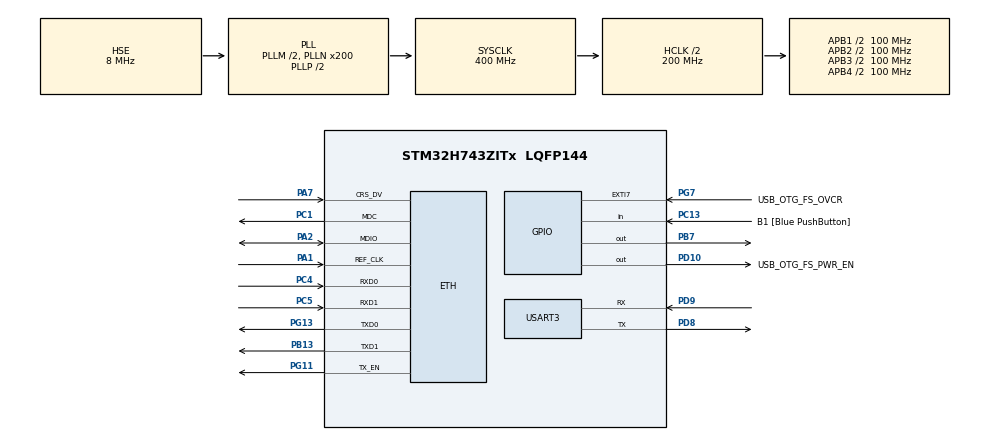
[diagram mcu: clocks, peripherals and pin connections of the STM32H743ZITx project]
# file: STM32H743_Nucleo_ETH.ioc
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CORTEX_M7.AccessPermission_S-Cortex_Memory_Protection_Unit_Region1_Settings_S=MPU_REGION_FULL_ACCESS
CORTEX_M7.AccessPermission_S-Cortex_Memory_Protection_Unit_Region2_Settings_S=MPU_REGION_FULL_ACCESS
CORTEX_M7.BaseAddress_S-Cortex_Memory_Protection_Unit_Region1_Settings_S=0x30020000
CORTEX_M7.BaseAddress_S-Cortex_Memory_Protection_Unit_Region2_Settings_S=0x30040000
CORTEX_M7.CPU_DCache=Enabled
CORTEX_M7.CPU_ICache=Enabled
CORTEX_M7.DisableExec_S-Cortex_Memory_Protection_Unit_Region1_Settings_S=MPU_INSTRUCTION_ACCESS_DISABLE
CORTEX_M7.DisableExec_S-Cortex_Memory_Protection_Unit_Region2_Settings_S=MPU_INSTRUCTION_ACCESS_DISABLE
CORTEX_M7.Enable_S-Cortex_Memory_Protection_Unit_Region1_Settings_S=MPU_REGION_ENABLE
CORTEX_M7.Enable_S-Cortex_Memory_Protection_Unit_Region2_Settings_S=MPU_REGION_ENABLE
CORTEX_M7.IsBufferable_S-Cortex_Memory_Protection_Unit_Region2_Settings_S=MPU_ACCESS_BUFFERABLE
CORTEX_M7.IsShareable_S-Cortex_Memory_Protection_Unit_Region2_Settings_S=MPU_ACCESS_SHAREABLE
CORTEX_M7.Size_S-Cortex_Memory_Protection_Unit_Region1_Settings_S=MPU_REGION_SIZE_128KB
CORTEX_M7.Size_S-Cortex_Memory_Protection_Unit_Region2_Settings_S=MPU_REGION_SIZE_512B
CORTEX_M7.TypeExtField_S-Cortex_Memory_Protection_Unit_Region1_Settings_S=MPU_TEX_LEVEL1
CORTEX_M7.default_mode_Activation=1
ETH.MediaInterface=HAL_ETH_RMII_MODE
ETH.RxBuffLen=1536
ETH.RxDescAddress=0x30040000
ETH.TxDescAddress=0x30040200
FREERTOS.Tasks01=defaultTask,24,512,StartDefaultTask,Default,NULL,Dynamic,NULL,NULL;mqttSubTask,24,2048,StartMqttSubTask,Default,NULL,Dynamic,NULL,NULL;mqttPubTask,24,2048,StartMqttPubTaskx,Default,NULL,Dynamic,NULL,NULL
FREERTOS.configCHECK_FOR_STACK_OVERFLOW=2
FREERTOS.configMINIMAL_STACK_SIZE=512
FREERTOS.configTOTAL_HEAP_SIZE=65536
FREERTOS.configUSE_NEWLIB_REENTRANT=1
LWIP.BSP.number=1
LWIP.DEFAULT_THREAD_STACKSIZE=2048
LWIP.IP_ADDRESS=192.168.001.050
LWIP.LWIP_DHCP=1
LWIP.LWIP_RAM_HEAP_POINTER=0x30020000
LWIP.MEM_SIZE=131048
LWIP.NETMASK_ADDRESS=255.255.255.000
LWIP.PBUF_POOL_BUFSIZE=592
LWIP.TCPIP_THREAD_STACKSIZE=2048
LWIP.TCP_MSS=1460
LWIP.TCP_SND_BUF=5840
LWIP.TCP_SND_QUEUELEN=16
LWIP.Version=v2.1.2_Cube
LWIP0.BSP.STBoard=false
LWIP0.BSP.api=BSP_COMPONENT_DRIVER
LWIP0.BSP.component=LAN8742
LWIP0.BSP.instance=LAN8742
LWIP0.BSP.name=Driver_PHY
LWIP0.BSP.semaphore=S_LAN8742
LWIP0.BSP.solution=LAN8742
MBEDTLS.MBEDTLS_DEBUG_C=1
MBEDTLS.MBEDTLS_ENTROPY_HARDWARE_ALT=1
MBEDTLS.MBEDTLS_NO_DEFAULT_ENTROPY_SOURCES=0
MBEDTLS.MBEDTLS_NO_PLATFORM_ENTROPY=1
Mcu.Family=STM32H7
Mcu.Name=STM32H743ZITx
Mcu.Package=LQFP144
NUCLEO-H743ZI2.LD1=true
NUCLEO-H743ZI2.LD2=true
NUCLEO-H743ZI2.LD3=true
NVIC.ETH_IRQn=true\:5\:0\:false\:false\:true\:true\:true\:true\:true
NVIC.HASH_RNG_IRQn=true\:5\:0\:false\:false\:true\:true\:true\:true\:true
NVIC.PriorityGroup=NVIC_PRIORITYGROUP_4
NVIC.TIM6_DAC_IRQn=true\:15\:0\:false\:false\:true\:false\:false\:true\:true
NVIC.TimeBase=TIM6_DAC_IRQn
NVIC.TimeBaseIP=TIM6
PA1.GPIO_Speed=GPIO_SPEED_FREQ_VERY_HIGH
PA1.Mode=RMII
PA1.Signal=ETH_REF_CLK
PA11.Signal=USB_OTG_FS_DM
PA12.Signal=USB_OTG_FS_DP
PA2.GPIO_Speed=GPIO_SPEED_FREQ_VERY_HIGH
PA2.Mode=RMII
PA2.Signal=ETH_MDIO
PA7.GPIO_Speed=GPIO_SPEED_FREQ_VERY_HIGH
PA7.Mode=RMII
PA7.Signal=ETH_CRS_DV
PA8.Signal=USB_OTG_FS_SOF
PA9.Signal=USB_OTG_FS_VBUS
PB13.GPIO_Speed=GPIO_SPEED_FREQ_VERY_HIGH
PB13.Mode=RMII
PB13.Signal=ETH_TXD1
PB7.Signal=GPIO_Output
PC1.GPIO_Speed=GPIO_SPEED_FREQ_VERY_HIGH
PC1.Mode=RMII
PC1.Signal=ETH_MDC
PC13.GPIO_Label=B1 [Blue PushButton]
PC13.Signal=GPIO_Input
PC14-OSC32_IN\ (OSC32_IN).Signal=RCC_OSC32_IN
PC15-OSC32_OUT\ (OSC32_OUT).Signal=RCC_OSC32_OUT
PC4.GPIO_Speed=GPIO_SPEED_FREQ_VERY_HIGH
PC4.Mode=RMII
PC4.Signal=ETH_RXD0
PC5.GPIO_Speed=GPIO_SPEED_FREQ_VERY_HIGH
PC5.Mode=RMII
PC5.Signal=ETH_RXD1
PD10.GPIO_Label=USB_OTG_FS_PWR_EN
PD10.Signal=GPIO_Output
PD8.Mode=Asynchronous
PD8.Signal=USART3_TX
PD9.Mode=Asynchronous
PD9.Signal=USART3_RX
PG11.GPIO_Speed=GPIO_SPEED_FREQ_VERY_HIGH
PG11.Mode=RMII
PG11.Signal=ETH_TX_EN
PG13.GPIO_Speed=GPIO_SPEED_FREQ_VERY_HIGH
PG13.Mode=RMII
PG13.Signal=ETH_TXD0
PG7.GPIO_Label=USB_OTG_FS_OVCR
PG7.Signal=GPXTI7
PH0-OSC_IN\ (PH0).Mode=HSE-External-Clock-Source
PH0-OSC_IN\ (PH0).Signal=RCC_OSC_IN
PH1-OSC_OUT\ (PH1).Signal=RCC_OSC_OUT
ProjectManager.HeapSize=0x200
ProjectManager.StackSize=0x400
ProjectManager.TargetToolchain=STM32CubeIDE
RCC.ADCFreq_Value=16125000
RCC.APB1Freq_Value=100000000
RCC.APB2Freq_Value=100000000
RCC.APB3Freq_Value=100000000
RCC.APB4Freq_Value=100000000
RCC.CortexFreq_Value=400000000
RCC.D1PPRE=RCC_APB3_DIV2
RCC.D2PPRE1=RCC_APB1_DIV2
RCC.D2PPRE2=RCC_APB2_DIV2
RCC.D3PPRE=RCC_APB4_DIV2
RCC.DIVM1=2
RCC.DIVN1=200
RCC.HCLKFreq_Value=200000000
RCC.HPRE=RCC_HCLK_DIV2
RCC.HSE_VALUE=8000000
RCC.PLLSourceVirtual=RCC_PLLSOURCE_HSE
RCC.SYSCLKFreq_VALUE=400000000
RCC.SYSCLKSource=RCC_SYSCLKSOURCE_PLLCLK
RCC.USBFreq_Value=400000000
USART3.VirtualMode-Asynchronous=VM_ASYNC
VP_FREERTOS_VS_CMSIS_V2.Mode=CMSIS_V2
VP_LWIP_VS_Enabled.Mode=Enabled
VP_MBEDTLS_VS_MBEDTLS.Mode=Enabled
VP_MEMORYMAP_VS_MEMORYMAP.Mode=CurAppReg
VP_RNG_VS_RNG.Mode=RNG_Activate
VP_SYS_VS_tim6.Mode=TIM6
board=NUCLEO-H743ZI2

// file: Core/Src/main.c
/* USER CODE BEGIN Header */
/**
  ******************************************************************************
  * @file           : main.c
  * @brief          : Main program body
  ******************************************************************************
  * @attention
  *
  * Copyright (c) 2022 STMicroelectronics.
  * All rights reserved.
  *
  * This software is licensed under terms that can be found in the LICENSE file
  * in the root directory of this software component.
  * If no LICENSE file comes with this software, it is provided AS-IS.
  *
  ******************************************************************************
  */
/* USER CODE END Header */
#include "main.h"
#include "cmsis_os.h"
#include "mbedtls.h"

/* USER CODE BEGIN Includes */
#include "app.h"
/* USER CODE END Includes */

RNG_HandleTypeDef hrng;

UART_HandleTypeDef huart3;

/* Definitions for defaultTask */
osThreadId_t defaultTaskHandle;
const osThreadAttr_t defaultTask_attributes = {
  .name = "defaultTask",
  .stack_size = 512 * 4,
  .priority = (osPriority_t) osPriorityNormal,
};
/* Definitions for mqttSubTask */
osThreadId_t mqttSubTaskHandle;
const osThreadAttr_t mqttSubTask_attributes = {
  .name = "mqttSubTask",
  .stack_size = 2048 * 4,
  .priority = (osPriority_t) osPriorityNormal,
};
/* Definitions for mqttPubTask */
osThreadId_t mqttPubTaskHandle;
const osThreadAttr_t mqttPubTask_attributes = {
  .name = "mqttPubTask",
  .stack_size = 2048 * 4,
  .priority = (osPriority_t) osPriorityNormal,
};
/* USER CODE BEGIN PV */
/* Retargets the C library printf function to the USART. */
#include <stdio.h>
#ifdef __GNUC__
int __io_putchar(int ch)
#else
int fputc(int ch, FILE *f)
#endif
{
    HAL_UART_Transmit(&huart3, (uint8_t *)&ch, 1, 0xFFFF);

    return ch;
}
#ifdef __GNUC__
int _write(int file,char *ptr, int len)
{
    int DataIdx;
    for (DataIdx= 0; DataIdx< len; DataIdx++) {
        __io_putchar(*ptr++);
    }
    return len;
}
#endif
/* USER CODE END PV */

void SystemClock_Config(void);
static void MPU_Config(void);
static void MX_GPIO_Init(void);
static void MX_USART3_UART_Init(void);
static void MX_RNG_Init(void);
void StartDefaultTask(void *argument);
void StartMqttSubTask(void *argument);
void StartMqttPubTaskx(void *argument);

int main(void)
{

  /* MPU Configuration--------------------------------------------------------*/
  MPU_Config();

  /* Enable the CPU Cache */

  /* Enable I-Cache---------------------------------------------------------*/
  SCB_EnableICache();

  /* Enable D-Cache---------------------------------------------------------*/
  SCB_EnableDCache();

  /* MCU Configuration--------------------------------------------------------*/

  /* Reset of all peripherals, Initializes the Flash interface and the Systick. */
  HAL_Init();

  /* USER CODE BEGIN Init */
  /* Turn off buffers, so I/O occurs immediately */
  setvbuf(stdin, NULL, _IONBF, 0);
  setvbuf(stdout, NULL, _IONBF, 0);
  setvbuf(stderr, NULL, _IONBF, 0);
  /* USER CODE END Init */

  /* Configure the system clock */
  SystemClock_Config();

  /* Initialize all configured peripherals */
  MX_GPIO_Init();
  MX_USART3_UART_Init();
  MX_RNG_Init();
  /* Call PreOsInit function */
  MX_MBEDTLS_Init();
  /* USER CODE BEGIN 2 */
  printf("Hello World- added   MX_LWIP_Init\n");
  /* USER CODE END 2 */

  /* Init scheduler */
  osKernelInitialize();

  /* Create the thread(s) */
  /* creation of defaultTask */
  defaultTaskHandle = osThreadNew(StartDefaultTask, NULL, &defaultTask_attributes);

  /* creation of mqttSubTask */
  mqttSubTaskHandle = osThreadNew(StartMqttSubTask, NULL, &mqttSubTask_attributes);

  /* creation of mqttPubTask */
  mqttPubTaskHandle = osThreadNew(StartMqttPubTaskx, NULL, &mqttPubTask_attributes);

  /* Start scheduler */
  osKernelStart();

  /* We should never get here as control is now taken by the scheduler */

  /* Infinite loop */
  while (1)
  {

  }
}

void SystemClock_Config(void)
{
  RCC_OscInitTypeDef RCC_OscInitStruct = {0};
  RCC_ClkInitTypeDef RCC_ClkInitStruct = {0};

  /** Supply configuration update enable
  */
  HAL_PWREx_ConfigSupply(PWR_LDO_SUPPLY);

  /** Configure the main internal regulator output voltage
  */
  __HAL_PWR_VOLTAGESCALING_CONFIG(PWR_REGULATOR_VOLTAGE_SCALE1);

  while(!__HAL_PWR_GET_FLAG(PWR_FLAG_VOSRDY)) {}

  /** Initializes the RCC Oscillators according to the specified parameters
  * in the RCC_OscInitTypeDef structure.
  */
  RCC_OscInitStruct.OscillatorType = RCC_OSCILLATORTYPE_HSI48|RCC_OSCILLATORTYPE_HSE;
  RCC_OscInitStruct.HSEState = RCC_HSE_BYPASS;
  RCC_OscInitStruct.HSI48State = RCC_HSI48_ON;
  RCC_OscInitStruct.PLL.PLLState = RCC_PLL_ON;
  RCC_OscInitStruct.PLL.PLLSource = RCC_PLLSOURCE_HSE;
  RCC_OscInitStruct.PLL.PLLM = 2;
  RCC_OscInitStruct.PLL.PLLN = 200;
  RCC_OscInitStruct.PLL.PLLP = 2;
  RCC_OscInitStruct.PLL.PLLQ = 2;
  RCC_OscInitStruct.PLL.PLLR = 2;
  RCC_OscInitStruct.PLL.PLLRGE = RCC_PLL1VCIRANGE_2;
  RCC_OscInitStruct.PLL.PLLVCOSEL = RCC_PLL1VCOWIDE;
  RCC_OscInitStruct.PLL.PLLFRACN = 0;
  if (HAL_RCC_OscConfig(&RCC_OscInitStruct) != HAL_OK)
  {
    Error_Handler();
  }

  /** Initializes the CPU, AHB and APB buses clocks
  */
  RCC_ClkInitStruct.ClockType = RCC_CLOCKTYPE_HCLK|RCC_CLOCKTYPE_SYSCLK
                              |RCC_CLOCKTYPE_PCLK1|RCC_CLOCKTYPE_PCLK2
                              |RCC_CLOCKTYPE_D3PCLK1|RCC_CLOCKTYPE_D1PCLK1;
  RCC_ClkInitStruct.SYSCLKSource = RCC_SYSCLKSOURCE_PLLCLK;
  RCC_ClkInitStruct.SYSCLKDivider = RCC_SYSCLK_DIV1;
  RCC_ClkInitStruct.AHBCLKDivider = RCC_HCLK_DIV2;
  RCC_ClkInitStruct.APB3CLKDivider = RCC_APB3_DIV2;
  RCC_ClkInitStruct.APB1CLKDivider = RCC_APB1_DIV2;
  RCC_ClkInitStruct.APB2CLKDivider = RCC_APB2_DIV2;
  RCC_ClkInitStruct.APB4CLKDivider = RCC_APB4_DIV2;

  if (HAL_RCC_ClockConfig(&RCC_ClkInitStruct, FLASH_LATENCY_2) != HAL_OK)
  {
    Error_Handler();
  }
}

static void MX_RNG_Init(void)
{

  hrng.Instance = RNG;
  hrng.Init.ClockErrorDetection = RNG_CED_ENABLE;
  if (HAL_RNG_Init(&hrng) != HAL_OK)
  {
    Error_Handler();
  }

}

static void MX_USART3_UART_Init(void)
{

  huart3.Instance = USART3;
  huart3.Init.BaudRate = 115200;
  huart3.Init.WordLength = UART_WORDLENGTH_8B;
  huart3.Init.StopBits = UART_STOPBITS_1;
  huart3.Init.Parity = UART_PARITY_NONE;
  huart3.Init.Mode = UART_MODE_TX_RX;
  huart3.Init.HwFlowCtl = UART_HWCONTROL_NONE;
  huart3.Init.OverSampling = UART_OVERSAMPLING_16;
  huart3.Init.OneBitSampling = UART_ONE_BIT_SAMPLE_DISABLE;
  huart3.Init.ClockPrescaler = UART_PRESCALER_DIV1;
  huart3.AdvancedInit.AdvFeatureInit = UART_ADVFEATURE_NO_INIT;
  if (HAL_UART_Init(&huart3) != HAL_OK)
  {
    Error_Handler();
  }
  if (HAL_UARTEx_SetTxFifoThreshold(&huart3, UART_TXFIFO_THRESHOLD_1_8) != HAL_OK)
  {
    Error_Handler();
  }
  if (HAL_UARTEx_SetRxFifoThreshold(&huart3, UART_RXFIFO_THRESHOLD_1_8) != HAL_OK)
  {
    Error_Handler();
  }
  if (HAL_UARTEx_DisableFifoMode(&huart3) != HAL_OK)
  {
    Error_Handler();
  }

}

static void MX_GPIO_Init(void)
{
  GPIO_InitTypeDef GPIO_InitStruct = {0};

  /* GPIO Ports Clock Enable */
  __HAL_RCC_GPIOC_CLK_ENABLE();
  __HAL_RCC_GPIOH_CLK_ENABLE();
  __HAL_RCC_GPIOA_CLK_ENABLE();
  __HAL_RCC_GPIOB_CLK_ENABLE();
  __HAL_RCC_GPIOD_CLK_ENABLE();
  __HAL_RCC_GPIOG_CLK_ENABLE();

  /*Configure GPIO pin Output Level */
  HAL_GPIO_WritePin(USB_OTG_FS_PWR_EN_GPIO_Port, USB_OTG_FS_PWR_EN_Pin, GPIO_PIN_RESET);

  /*Configure GPIO pin Output Level */
  HAL_GPIO_WritePin(GPIOB, GPIO_PIN_7, GPIO_PIN_RESET);

  /*Configure GPIO pin : B1_Pin */
  GPIO_InitStruct.Pin = B1_Pin;
  GPIO_InitStruct.Mode = GPIO_MODE_INPUT;
  GPIO_InitStruct.Pull = GPIO_NOPULL;
  HAL_GPIO_Init(B1_GPIO_Port, &GPIO_InitStruct);

  /*Configure GPIO pin : USB_OTG_FS_PWR_EN_Pin */
  GPIO_InitStruct.Pin = USB_OTG_FS_PWR_EN_Pin;
  GPIO_InitStruct.Mode = GPIO_MODE_OUTPUT_PP;
  GPIO_InitStruct.Pull = GPIO_NOPULL;
  GPIO_InitStruct.Speed = GPIO_SPEED_FREQ_LOW;
  HAL_GPIO_Init(USB_OTG_FS_PWR_EN_GPIO_Port, &GPIO_InitStruct);

  /*Configure GPIO pin : USB_OTG_FS_OVCR_Pin */
  GPIO_InitStruct.Pin = USB_OTG_FS_OVCR_Pin;
  GPIO_InitStruct.Mode = GPIO_MODE_IT_RISING;
  GPIO_InitStruct.Pull = GPIO_NOPULL;
  HAL_GPIO_Init(USB_OTG_FS_OVCR_GPIO_Port, &GPIO_InitStruct);

  /*Configure GPIO pins : PA8 PA11 PA12 */
  GPIO_InitStruct.Pin = GPIO_PIN_8|GPIO_PIN_11|GPIO_PIN_12;
  GPIO_InitStruct.Mode = GPIO_MODE_AF_PP;
  GPIO_InitStruct.Pull = GPIO_NOPULL;
  GPIO_InitStruct.Speed = GPIO_SPEED_FREQ_LOW;
  GPIO_InitStruct.Alternate = GPIO_AF10_OTG1_FS;
  HAL_GPIO_Init(GPIOA, &GPIO_InitStruct);

  /*Configure GPIO pin : PB7 */
  GPIO_InitStruct.Pin = GPIO_PIN_7;
  GPIO_InitStruct.Mode = GPIO_MODE_OUTPUT_PP;
  GPIO_InitStruct.Pull = GPIO_NOPULL;
  GPIO_InitStruct.Speed = GPIO_SPEED_FREQ_LOW;
  HAL_GPIO_Init(GPIOB, &GPIO_InitStruct);

}

void StartDefaultTask(void *argument)
{
  /* USER CODE BEGIN 5 */

	mqtt_secure_connect();
  /* Initialize application */
//  app_init();
  /* Run application task */
  app_run(argument);

  /* USER CODE END 5 */
}

void StartMqttSubTask(void *argument)
{
  for(;;)
  {
    osDelay(1);
  }
}

void StartMqttPubTaskx(void *argument)
{
  for(;;)
  {
    osDelay(1);
  }
}

 /* MPU Configuration */

void MPU_Config(void)
{
  MPU_Region_InitTypeDef MPU_InitStruct = {0};

  /* Disables the MPU */
  HAL_MPU_Disable();

  /** Initializes and configures the Region and the memory to be protected
  */
  MPU_InitStruct.Enable = MPU_REGION_ENABLE;
  MPU_InitStruct.Number = MPU_REGION_NUMBER0;
  MPU_InitStruct.BaseAddress = 0x0;
  MPU_InitStruct.Size = MPU_REGION_SIZE_4GB;
  MPU_InitStruct.SubRegionDisable = 0x87;
  MPU_InitStruct.TypeExtField = MPU_TEX_LEVEL0;
  MPU_InitStruct.AccessPermission = MPU_REGION_NO_ACCESS;
  MPU_InitStruct.DisableExec = MPU_INSTRUCTION_ACCESS_DISABLE;
  MPU_InitStruct.IsShareable = MPU_ACCESS_SHAREABLE;
  MPU_InitStruct.IsCacheable = MPU_ACCESS_NOT_CACHEABLE;
  MPU_InitStruct.IsBufferable = MPU_ACCESS_NOT_BUFFERABLE;

  HAL_MPU_ConfigRegion(&MPU_InitStruct);

  /** Initializes and configures the Region and the memory to be protected
  */
  MPU_InitStruct.Number = MPU_REGION_NUMBER1;
  MPU_InitStruct.BaseAddress = 0x30020000;
  MPU_InitStruct.Size = MPU_REGION_SIZE_128KB;
  MPU_InitStruct.SubRegionDisable = 0x0;
  MPU_InitStruct.TypeExtField = MPU_TEX_LEVEL1;
  MPU_InitStruct.AccessPermission = MPU_REGION_FULL_ACCESS;
  MPU_InitStruct.IsShareable = MPU_ACCESS_NOT_SHAREABLE;

  HAL_MPU_ConfigRegion(&MPU_InitStruct);

  /** Initializes and configures the Region and the memory to be protected
  */
  MPU_InitStruct.Number = MPU_REGION_NUMBER2;
  MPU_InitStruct.BaseAddress = 0x30040000;
  MPU_InitStruct.Size = MPU_REGION_SIZE_512B;
  MPU_InitStruct.TypeExtField = MPU_TEX_LEVEL0;
  MPU_InitStruct.IsShareable = MPU_ACCESS_SHAREABLE;
  MPU_InitStruct.IsBufferable = MPU_ACCESS_BUFFERABLE;

  HAL_MPU_ConfigRegion(&MPU_InitStruct);
  /* Enables the MPU */
  HAL_MPU_Enable(MPU_PRIVILEGED_DEFAULT);

}

void HAL_TIM_PeriodElapsedCallback(TIM_HandleTypeDef *htim)
{
  if (htim->Instance == TIM6)
  {
    HAL_IncTick();
  }
}

void Error_Handler(void)
{
  __disable_irq();
  while (1)
  {
  }
}

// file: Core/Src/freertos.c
/* USER CODE BEGIN Header */
/**
  ******************************************************************************
  * File Name          : freertos.c
  * Description        : Code for freertos applications
  ******************************************************************************
  * @attention
  *
  * Copyright (c) 2022 STMicroelectronics.
  * All rights reserved.
  *
  * This software is licensed under terms that can be found in the LICENSE file
  * in the root directory of this software component.
  * If no LICENSE file comes with this software, it is provided AS-IS.
  *
  ******************************************************************************
  */
/* USER CODE END Header */

#include "FreeRTOS.h"
#include "task.h"
#include "main.h"

/* GetIdleTaskMemory prototype (linked to static allocation support) */
void vApplicationGetIdleTaskMemory( StaticTask_t **ppxIdleTaskTCBBuffer, StackType_t **ppxIdleTaskStackBuffer, uint32_t *pulIdleTaskStackSize );

/* Hook prototypes */
void vApplicationStackOverflowHook(xTaskHandle xTask, signed char *pcTaskName);

/* USER CODE BEGIN 4 */
void vApplicationStackOverflowHook(xTaskHandle xTask, signed char *pcTaskName)
{
   /* ETH_CODE: add breakpoint when stack oveflow is detected by FreeRTOS.
    * Useful for debugging issues.
    */
   __BKPT(0);
}
/* USER CODE END 4 */

/* USER CODE BEGIN GET_IDLE_TASK_MEMORY */
static StaticTask_t xIdleTaskTCBBuffer;
static StackType_t xIdleStack[configMINIMAL_STACK_SIZE];

void vApplicationGetIdleTaskMemory( StaticTask_t **ppxIdleTaskTCBBuffer, StackType_t **ppxIdleTaskStackBuffer, uint32_t *pulIdleTaskStackSize )
{
  *ppxIdleTaskTCBBuffer = &xIdleTaskTCBBuffer;
  *ppxIdleTaskStackBuffer = &xIdleStack[0];
  *pulIdleTaskStackSize = configMINIMAL_STACK_SIZE;
  /* place for user code */
}
/* USER CODE END GET_IDLE_TASK_MEMORY */
